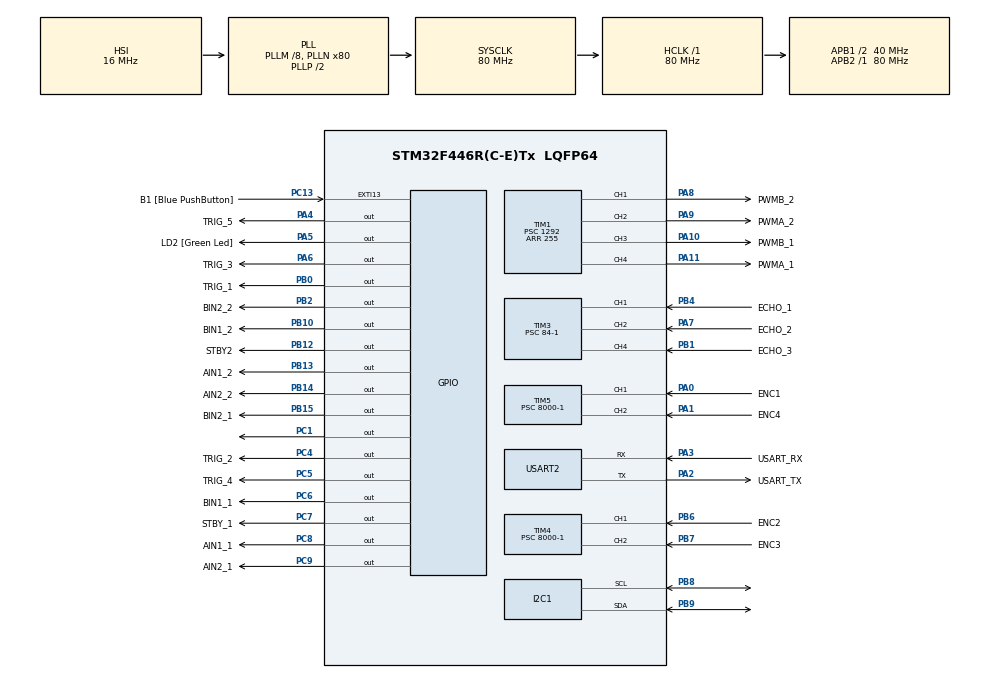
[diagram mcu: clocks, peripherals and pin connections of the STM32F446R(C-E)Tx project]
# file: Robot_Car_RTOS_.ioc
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Dma.Request0=TIM4_CH1
Dma.Request1=TIM4_CH2
Dma.TIM4_CH1.0.Direction=DMA_PERIPH_TO_MEMORY
Dma.TIM4_CH1.0.FIFOMode=DMA_FIFOMODE_DISABLE
Dma.TIM4_CH1.0.Instance=DMA1_Stream0
Dma.TIM4_CH1.0.MemDataAlignment=DMA_MDATAALIGN_HALFWORD
Dma.TIM4_CH1.0.MemInc=DMA_MINC_ENABLE
Dma.TIM4_CH1.0.Mode=DMA_NORMAL
Dma.TIM4_CH1.0.PeriphDataAlignment=DMA_PDATAALIGN_HALFWORD
Dma.TIM4_CH1.0.PeriphInc=DMA_PINC_DISABLE
Dma.TIM4_CH1.0.Priority=DMA_PRIORITY_LOW
Dma.TIM4_CH2.1.Direction=DMA_PERIPH_TO_MEMORY
Dma.TIM4_CH2.1.FIFOMode=DMA_FIFOMODE_DISABLE
Dma.TIM4_CH2.1.Instance=DMA1_Stream3
Dma.TIM4_CH2.1.MemDataAlignment=DMA_MDATAALIGN_HALFWORD
Dma.TIM4_CH2.1.MemInc=DMA_MINC_ENABLE
Dma.TIM4_CH2.1.Mode=DMA_NORMAL
Dma.TIM4_CH2.1.PeriphDataAlignment=DMA_PDATAALIGN_HALFWORD
Dma.TIM4_CH2.1.PeriphInc=DMA_PINC_DISABLE
Dma.TIM4_CH2.1.Priority=DMA_PRIORITY_HIGH
FREERTOS.Tasks01=defaultTask,0,128,StartDefaultTask,Default,NULL,Dynamic,NULL,NULL;ENC1Task,0,128,StartENC1Task,Default,NULL,Dynamic,NULL,NULL;ENC2Task,0,128,StartENC2Task,Default,NULL,Dynamic,NULL,NULL;ENC3Task,0,128,StartENC3Task,Default,NULL,Dynamic,NULL,NULL;ENC4Task,0,128,StartENC4Task,Default,NULL,Dynamic,NULL,NULL;IMUTask,0,128,StartIMUTask,Default,NULL,Dynamic,NULL,NULL
Mcu.Family=STM32F4
Mcu.Name=STM32F446R(C-E)Tx
Mcu.Package=LQFP64
NVIC.DMA1_Stream0_IRQn=true\:5\:0\:false\:false\:true\:true\:false\:true
NVIC.DMA1_Stream3_IRQn=true\:5\:0\:false\:false\:true\:true\:false\:true
NVIC.EXTI15_10_IRQn=true\:5\:0\:false\:false\:true\:true\:true\:true
NVIC.PriorityGroup=NVIC_PRIORITYGROUP_4
NVIC.TIM2_IRQn=true\:0\:0\:false\:false\:true\:false\:false\:true
NVIC.TIM3_IRQn=true\:5\:0\:false\:false\:true\:true\:true\:true
NVIC.TIM4_IRQn=true\:6\:0\:true\:false\:true\:true\:true\:true
NVIC.TIM5_IRQn=true\:7\:0\:true\:false\:true\:true\:true\:true
NVIC.TimeBase=TIM2_IRQn
NVIC.TimeBaseIP=TIM2
PA0-WKUP.GPIO_Label=ENC1
PA0-WKUP.Signal=S_TIM5_CH1
PA1.GPIO_Label=ENC4
PA1.Signal=S_TIM5_CH2
PA10.GPIO_Label=PWMB_1
PA10.GPIO_Speed=GPIO_SPEED_FREQ_HIGH
PA10.Signal=S_TIM1_CH3
PA11.GPIO_Label=PWMA_1
PA11.GPIO_Speed=GPIO_SPEED_FREQ_HIGH
PA11.Signal=S_TIM1_CH4
PA13.GPIO_Label=TMS
PA13.Mode=Serial_Wire
PA13.Signal=SYS_JTMS-SWDIO
PA14.GPIO_Label=TCK
PA14.Mode=Serial_Wire
PA14.Signal=SYS_JTCK-SWCLK
PA2.GPIO_Label=USART_TX
PA2.Mode=Asynchronous
PA2.Signal=USART2_TX
PA3.GPIO_Label=USART_RX
PA3.Mode=Asynchronous
PA3.Signal=USART2_RX
PA4.GPIO_Label=TRIG_5
PA4.Signal=GPIO_Output
PA5.GPIO_Label=LD2 [Green Led]
PA5.GPIO_PuPd=GPIO_NOPULL
PA5.GPIO_Speed=GPIO_SPEED_FREQ_LOW
PA5.PinState=GPIO_PIN_RESET
PA5.Signal=GPIO_Output
PA6.GPIO_Label=TRIG_3
PA6.Signal=GPIO_Output
PA7.GPIO_Label=ECHO_2
PA7.Signal=S_TIM3_CH2
PA8.GPIO_Label=PWMB_2
PA8.GPIO_Speed=GPIO_SPEED_FREQ_HIGH
PA8.Signal=S_TIM1_CH1
PA9.GPIO_Label=PWMA_2
PA9.GPIO_Speed=GPIO_SPEED_FREQ_HIGH
PA9.Signal=S_TIM1_CH2
PB0.GPIO_Label=TRIG_1
PB0.Signal=GPIO_Output
PB1.GPIO_Label=ECHO_3
PB1.Signal=S_TIM3_CH4
PB10.GPIO_Label=BIN1_2
PB10.Signal=GPIO_Output
PB12.GPIO_Label=STBY2
PB12.Signal=GPIO_Output
PB13.GPIO_Label=AIN1_2
PB13.Signal=GPIO_Output
PB14.GPIO_Label=AIN2_2
PB14.Signal=GPIO_Output
PB15.GPIO_Label=BIN2_1
PB15.Signal=GPIO_Output
PB2.GPIO_Label=BIN2_2
PB2.Signal=GPIO_Output
PB3.GPIO_Label=SWO
PB3.Signal=SYS_JTDO-SWO
PB4.GPIO_Label=ECHO_1
PB4.Signal=S_TIM3_CH1
PB6.GPIO_Label=ENC2
PB6.Signal=S_TIM4_CH1
PB7.GPIO_Label=ENC3
PB7.Signal=S_TIM4_CH2
PB8.Mode=I2C
PB8.Signal=I2C1_SCL
PB9.Mode=I2C
PB9.Signal=I2C1_SDA
PC1.Signal=GPIO_Output
PC13.GPIO_Label=B1 [Blue PushButton]
PC13.GPIO_ModeDefaultEXTI=GPIO_MODE_IT_FALLING
PC13.Signal=GPXTI13
PC14-OSC32_IN.Mode=LSE-External-Oscillator
PC14-OSC32_IN.Signal=RCC_OSC32_IN
PC15-OSC32_OUT.Mode=LSE-External-Oscillator
PC15-OSC32_OUT.Signal=RCC_OSC32_OUT
PC4.GPIO_Label=TRIG_2
PC4.Signal=GPIO_Output
PC5.GPIO_Label=TRIG_4
PC5.Signal=GPIO_Output
PC6.GPIO_Label=BIN1_1
PC6.Signal=GPIO_Output
PC7.GPIO_Label=STBY_1
PC7.Signal=GPIO_Output
PC8.GPIO_Label=AIN1_1
PC8.Signal=GPIO_Output
PC9.GPIO_Label=AIN2_1
PC9.Signal=GPIO_Output
PH0-OSC_IN.Mode=HSE-External-Oscillator
PH0-OSC_IN.Signal=RCC_OSC_IN
PH1-OSC_OUT.Mode=HSE-External-Oscillator
PH1-OSC_OUT.Signal=RCC_OSC_OUT
ProjectManager.HeapSize=0x200
ProjectManager.StackSize=0x400
ProjectManager.TargetToolchain=STM32CubeIDE
RCC.48MHZClocksFreq_Value=84000000
RCC.AHBFreq_Value=80000000
RCC.APB1CLKDivider=RCC_HCLK_DIV2
RCC.APB1Freq_Value=40000000
RCC.APB1TimFreq_Value=80000000
RCC.APB2Freq_Value=80000000
RCC.APB2TimFreq_Value=80000000
RCC.CortexFreq_Value=80000000
RCC.FLatency-AdvancedSettings=FLASH_LATENCY_2
RCC.HCLKFreq_Value=80000000
RCC.HSE_VALUE=8000000
RCC.HSI_VALUE=16000000
RCC.PLLM=8
RCC.PLLN=80
RCC.SYSCLKFreq_VALUE=80000000
RCC.SYSCLKSource=RCC_SYSCLKSOURCE_PLLCLK
RCC.USBFreq_Value=80000000
RCC.VCOOutputFreq_Value=160000000
SH.S_TIM1_CH1.0=TIM1_CH1,PWM Generation1 CH1
SH.S_TIM1_CH2.0=TIM1_CH2,PWM Generation2 CH2
SH.S_TIM1_CH3.0=TIM1_CH3,PWM Generation3 CH3
SH.S_TIM1_CH4.0=TIM1_CH4,PWM Generation4 CH4
SH.S_TIM3_CH1.0=TIM3_CH1,Input_Capture1_from_TI1
SH.S_TIM3_CH2.0=TIM3_CH2,Input_Capture2_from_TI2
SH.S_TIM3_CH4.0=TIM3_CH4,Input_Capture4_from_TI4
SH.S_TIM4_CH1.0=TIM4_CH1,Input_Capture1_from_TI1
SH.S_TIM4_CH2.0=TIM4_CH2,Input_Capture2_from_TI2
SH.S_TIM5_CH1.0=TIM5_CH1,Input_Capture1_from_TI1
SH.S_TIM5_CH2.0=TIM5_CH2,Input_Capture2_from_TI2
TIM1.Channel-PWM\ Generation1\ CH1=TIM_CHANNEL_1
TIM1.Channel-PWM\ Generation2\ CH2=TIM_CHANNEL_2
TIM1.Channel-PWM\ Generation3\ CH3=TIM_CHANNEL_3
TIM1.Channel-PWM\ Generation4\ CH4=TIM_CHANNEL_4
TIM1.Period=255
TIM1.Prescaler=1292
TIM1.Pulse-PWM\ Generation1\ CH1=2000
TIM1.Pulse-PWM\ Generation2\ CH2=2000
TIM1.Pulse-PWM\ Generation3\ CH3=2000
TIM1.Pulse-PWM\ Generation4\ CH4=2000
TIM3.Channel-Input_Capture1_from_TI1=TIM_CHANNEL_1
TIM3.Channel-Input_Capture2_from_TI2=TIM_CHANNEL_2
TIM3.Channel-Input_Capture4_from_TI4=TIM_CHANNEL_4
TIM3.ICFilter_CH1=4
TIM3.ICFilter_CH2=4
TIM3.ICFilter_CH4=4
TIM3.ICPolarity_CH1=TIM_INPUTCHANNELPOLARITY_BOTHEDGE
TIM3.ICPolarity_CH2=TIM_INPUTCHANNELPOLARITY_BOTHEDGE
TIM3.ICPolarity_CH4=TIM_INPUTCHANNELPOLARITY_BOTHEDGE
TIM3.Prescaler=84-1
TIM4.Channel-Input_Capture1_from_TI1=TIM_CHANNEL_1
TIM4.Channel-Input_Capture2_from_TI2=TIM_CHANNEL_2
TIM4.ICFilter_CH1=15
TIM4.ICFilter_CH2=15
TIM4.Period=65536 - 1
TIM4.Prescaler=8000-1
TIM5.Channel-Input_Capture1_from_TI1=TIM_CHANNEL_1
TIM5.Channel-Input_Capture2_from_TI2=TIM_CHANNEL_2
TIM5.ICFilter_CH1=15
TIM5.ICFilter_CH2=15
TIM5.Period=65536 - 1
TIM5.Prescaler=8000-1
USART2.VirtualMode=VM_ASYNC
VP_FREERTOS_VS_CMSIS_V1.Mode=CMSIS_V1
VP_SYS_VS_tim2.Mode=TIM2
VP_TIM3_VS_ClockSourceINT.Mode=Internal
VP_TIM4_VS_ClockSourceINT.Mode=Internal
board=NUCLEO-F446RE

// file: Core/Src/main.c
/* USER CODE BEGIN Header */
/**
  ******************************************************************************
  * @file           : main.c
  * @brief          : Main program body
  ******************************************************************************
  * @attention
  *
  * <h2><center>&copy; Copyright (c) 2021 STMicroelectronics.
  * All rights reserved.</center></h2>
  *
  * This software component is licensed by ST under BSD 3-Clause license,
  * the "License"; You may not use this file except in compliance with the
  * License. You may obtain a copy of the License at:
  *                        opensource.org/licenses/BSD-3-Clause
  *
  ******************************************************************************
  */
/* USER CODE END Header */
#include "main.h"
#include "cmsis_os.h"

/* USER CODE BEGIN Includes */
#include <stdbool.h>
#include "stdio.h"
#include "math.h"
#include "IMU.h"

/* USER CODE END Includes */

I2C_HandleTypeDef hi2c1;

TIM_HandleTypeDef htim1;
TIM_HandleTypeDef htim3;
TIM_HandleTypeDef htim4;
TIM_HandleTypeDef htim5;
DMA_HandleTypeDef hdma_tim4_ch1;
DMA_HandleTypeDef hdma_tim4_ch2;

UART_HandleTypeDef huart2;

osThreadId defaultTaskHandle;
osThreadId ENC1TaskHandle;
osThreadId ENC2TaskHandle;
osThreadId ENC3TaskHandle;
osThreadId ENC4TaskHandle;
osThreadId IMUTaskHandle;
/* USER CODE BEGIN PV */
osThreadId motorTaskHandle;
/* USER CODE END PV */

void SystemClock_Config(void);
static void MX_GPIO_Init(void);
static void MX_DMA_Init(void);
static void MX_TIM1_Init(void);
static void MX_USART2_UART_Init(void);
static void MX_TIM4_Init(void);
static void MX_I2C1_Init(void);
static void MX_TIM3_Init(void);
static void MX_TIM5_Init(void);
void StartDefaultTask(void const * argument);
void StartENC1Task(void const * argument);
void StartENC2Task(void const * argument);
void StartENC3Task(void const * argument);
void StartENC4Task(void const * argument);
void StartIMUTask(void const * argument);

/* USER CODE BEGIN PFP */
void HAL_GPIO_EXTI_Callback ( uint16_t GPIO_Pin );
void StartMotorTask(void const * argument);
void ComputeMotorPID(float *motor_1_ang_vel, float *motor_2_ang_vel, float *motor_3_ang_vel, float *motor_4_ang_vel);
void MPU6050Setup(void);

//Callback declarations
void HAL_TIM_IC_CaptureCallback(TIM_HandleTypeDef *htim);
/* USER CODE END PFP */

/* USER CODE BEGIN 0 */
bool enable_motors = false;

//Encoder 1 variables
uint8_t icflag1_1 = 0;
uint8_t icflag2_1 = 0;
uint32_t tick1_1;
uint32_t tick2_1;
uint32_t period1;
float frequency1 = 0.0;
float motor1_ang_vel = 0.0;
uint32_t start_tick1;

//Encoder 2 variables
uint8_t icflag1_2 = 0;
uint8_t icflag2_2 = 0;
uint32_t tick1_2;
uint32_t tick2_2;
uint32_t period2;
float frequency2 = 0.0;
float motor2_ang_vel = 0.0;
uint32_t start_tick2;

//Encoder 3 variables
uint8_t icflag1_3 = 0;
uint8_t icflag2_3 = 0;
uint32_t tick1_3;
uint32_t tick2_3;
uint32_t period3;
float frequency3 = 0.0;
float motor3_ang_vel = 0.0;
uint32_t start_tick3;

//Encoder 4 variables
uint8_t icflag1_4 = 0;
uint8_t icflag2_4 = 0;
uint32_t tick1_4;
uint32_t tick2_4;
uint32_t period4;
float frequency4 = 0.0;
float motor4_ang_vel = 0.0;
uint32_t start_tick4;

//Wheel ang vel PID variables
uint32_t motor_current_time = 0;
uint32_t motor_previous_time = 0;
float motor_elapsed_time;

float motor1_error;
float motor1_cum_error = 0;
float motor1_cum_error_previous = 0;
float motor1_rate_error = 0;
float motor1_last_error = 0;
float motor1_setpoint = 20.0;
float motor1_output_voltage;
float motor1_max_voltage = 4.5;
float motor1_max_rps = 27.0;
uint32_t motor1_PWM;

float motor2_error;
float motor2_cum_error = 0;
float motor2_cum_error_previous = 0;
float motor2_rate_error = 0;
float motor2_last_error = 0;
float motor2_setpoint = 20.0;
float motor2_output_voltage;
float motor2_max_voltage = 4.5;
float motor2_max_rps = 27.0;
uint32_t motor2_PWM;

float motor3_error;
float motor3_cum_error = 0;
float motor3_cum_error_previous = 0;
float motor3_rate_error = 0;
float motor3_last_error = 0;
float motor3_setpoint = 20.0;
float motor3_output_voltage;
float motor3_max_voltage = 4.5;
float motor3_max_rps = 27.0;
uint32_t motor3_PWM;

float motor4_error;
float motor4_cum_error = 0;
float motor4_cum_error_previous = 0;
float motor4_rate_error = 0;
float motor4_last_error = 0;
float motor4_setpoint = 20.0;
float motor4_output_voltage;
float motor4_max_voltage = 4.5;
float motor4_max_rps = 27.0;
uint32_t motor4_PWM;

float Kp = 0.02;
float Ki = 0.00015;
float Kd = 0;

//IMU variables
ScaledData_Def AccelScaled, GyroScaled;

//printf function
int _write(int file, char *ptr, int len)
{
	int i=0;
	for(i=0; i<len; i++) {
		ITM_SendChar((*ptr++));
	}
	return len;
}

/* USER CODE END 0 */

int main(void)
{

  /* MCU Configuration--------------------------------------------------------*/

  /* Reset of all peripherals, Initializes the Flash interface and the Systick. */
  HAL_Init();

  /* Configure the system clock */
  SystemClock_Config();

  /* Initialize all configured peripherals */
  MX_GPIO_Init();
  MX_DMA_Init();
  MX_TIM1_Init();
  MX_USART2_UART_Init();
  MX_TIM4_Init();
  MX_I2C1_Init();
  MX_TIM3_Init();
  MX_TIM5_Init();
  /* USER CODE BEGIN 2 */
  // Start PWM for motor drivers
  HAL_TIM_PWM_Start(&htim1, TIM_CHANNEL_1);
  HAL_TIM_PWM_Start(&htim1, TIM_CHANNEL_2);
  HAL_TIM_PWM_Start(&htim1, TIM_CHANNEL_3);
  HAL_TIM_PWM_Start(&htim1, TIM_CHANNEL_4);

  //Setup IMU
  //MPU6050Setup();
  /* USER CODE END 2 */

  /* Create the thread(s) */
  /* definition and creation of defaultTask */
  osThreadDef(defaultTask, StartDefaultTask, osPriorityNormal, 0, 128);
  defaultTaskHandle = osThreadCreate(osThread(defaultTask), NULL);

  /* definition and creation of ENC1Task */
  osThreadDef(ENC1Task, StartENC1Task, osPriorityNormal, 0, 128);
  ENC1TaskHandle = osThreadCreate(osThread(ENC1Task), NULL);

  /* definition and creation of ENC2Task */
  osThreadDef(ENC2Task, StartENC2Task, osPriorityNormal, 0, 128);
  ENC2TaskHandle = osThreadCreate(osThread(ENC2Task), NULL);

  /* definition and creation of ENC3Task */
  osThreadDef(ENC3Task, StartENC3Task, osPriorityNormal, 0, 128);
  ENC3TaskHandle = osThreadCreate(osThread(ENC3Task), NULL);

  /* definition and creation of ENC4Task */
  osThreadDef(ENC4Task, StartENC4Task, osPriorityNormal, 0, 128);
  ENC4TaskHandle = osThreadCreate(osThread(ENC4Task), NULL);

  /* definition and creation of IMUTask */
  osThreadDef(IMUTask, StartIMUTask, osPriorityNormal, 0, 128);
  IMUTaskHandle = osThreadCreate(osThread(IMUTask), NULL);

  /* USER CODE BEGIN RTOS_THREADS */
  /* add threads, ... */
  osThreadDef(motorTask, StartMotorTask, osPriorityNormal, 0, 128);
  motorTaskHandle = osThreadCreate(osThread(motorTask), NULL);

  /* USER CODE END RTOS_THREADS */

  /* Start scheduler */
  osKernelStart();

  /* We should never get here as control is now taken by the scheduler */
  /* Infinite loop */
  while (1)
  {

  }
}

void SystemClock_Config(void)
{
  RCC_OscInitTypeDef RCC_OscInitStruct = {0};
  RCC_ClkInitTypeDef RCC_ClkInitStruct = {0};

  /** Configure the main internal regulator output voltage
  */
  __HAL_RCC_PWR_CLK_ENABLE();
  __HAL_PWR_VOLTAGESCALING_CONFIG(PWR_REGULATOR_VOLTAGE_SCALE3);
  /** Initializes the RCC Oscillators according to the specified parameters
  * in the RCC_OscInitTypeDef structure.
  */
  RCC_OscInitStruct.OscillatorType = RCC_OSCILLATORTYPE_HSI;
  RCC_OscInitStruct.HSIState = RCC_HSI_ON;
  RCC_OscInitStruct.HSICalibrationValue = RCC_HSICALIBRATION_DEFAULT;
  RCC_OscInitStruct.PLL.PLLState = RCC_PLL_ON;
  RCC_OscInitStruct.PLL.PLLSource = RCC_PLLSOURCE_HSI;
  RCC_OscInitStruct.PLL.PLLM = 8;
  RCC_OscInitStruct.PLL.PLLN = 80;
  RCC_OscInitStruct.PLL.PLLP = RCC_PLLP_DIV2;
  RCC_OscInitStruct.PLL.PLLQ = 2;
  RCC_OscInitStruct.PLL.PLLR = 2;
  if (HAL_RCC_OscConfig(&RCC_OscInitStruct) != HAL_OK)
  {
    Error_Handler();
  }
  /** Initializes the CPU, AHB and APB buses clocks
  */
  RCC_ClkInitStruct.ClockType = RCC_CLOCKTYPE_HCLK|RCC_CLOCKTYPE_SYSCLK
                              |RCC_CLOCKTYPE_PCLK1|RCC_CLOCKTYPE_PCLK2;
  RCC_ClkInitStruct.SYSCLKSource = RCC_SYSCLKSOURCE_PLLCLK;
  RCC_ClkInitStruct.AHBCLKDivider = RCC_SYSCLK_DIV1;
  RCC_ClkInitStruct.APB1CLKDivider = RCC_HCLK_DIV2;
  RCC_ClkInitStruct.APB2CLKDivider = RCC_HCLK_DIV1;

  if (HAL_RCC_ClockConfig(&RCC_ClkInitStruct, FLASH_LATENCY_2) != HAL_OK)
  {
    Error_Handler();
  }
}

static void MX_I2C1_Init(void)
{

  hi2c1.Instance = I2C1;
  hi2c1.Init.ClockSpeed = 100000;
  hi2c1.Init.DutyCycle = I2C_DUTYCYCLE_2;
  hi2c1.Init.OwnAddress1 = 0;
  hi2c1.Init.AddressingMode = I2C_ADDRESSINGMODE_7BIT;
  hi2c1.Init.DualAddressMode = I2C_DUALADDRESS_DISABLE;
  hi2c1.Init.OwnAddress2 = 0;
  hi2c1.Init.GeneralCallMode = I2C_GENERALCALL_DISABLE;
  hi2c1.Init.NoStretchMode = I2C_NOSTRETCH_DISABLE;
  if (HAL_I2C_Init(&hi2c1) != HAL_OK)
  {
    Error_Handler();
  }

}

static void MX_TIM1_Init(void)
{

  TIM_MasterConfigTypeDef sMasterConfig = {0};
  TIM_OC_InitTypeDef sConfigOC = {0};
  TIM_BreakDeadTimeConfigTypeDef sBreakDeadTimeConfig = {0};

  htim1.Instance = TIM1;
  htim1.Init.Prescaler = 1292;
  htim1.Init.CounterMode = TIM_COUNTERMODE_UP;
  htim1.Init.Period = 255;
  htim1.Init.ClockDivision = TIM_CLOCKDIVISION_DIV1;
  htim1.Init.RepetitionCounter = 0;
  htim1.Init.AutoReloadPreload = TIM_AUTORELOAD_PRELOAD_DISABLE;
  if (HAL_TIM_PWM_Init(&htim1) != HAL_OK)
  {
    Error_Handler();
  }
  sMasterConfig.MasterOutputTrigger = TIM_TRGO_RESET;
  sMasterConfig.MasterSlaveMode = TIM_MASTERSLAVEMODE_DISABLE;
  if (HAL_TIMEx_MasterConfigSynchronization(&htim1, &sMasterConfig) != HAL_OK)
  {
    Error_Handler();
  }
  sConfigOC.OCMode = TIM_OCMODE_PWM1;
  sConfigOC.Pulse = 2000;
  sConfigOC.OCPolarity = TIM_OCPOLARITY_HIGH;
  sConfigOC.OCNPolarity = TIM_OCNPOLARITY_HIGH;
  sConfigOC.OCFastMode = TIM_OCFAST_DISABLE;
  sConfigOC.OCIdleState = TIM_OCIDLESTATE_RESET;
  sConfigOC.OCNIdleState = TIM_OCNIDLESTATE_RESET;
  if (HAL_TIM_PWM_ConfigChannel(&htim1, &sConfigOC, TIM_CHANNEL_1) != HAL_OK)
  {
    Error_Handler();
  }
  if (HAL_TIM_PWM_ConfigChannel(&htim1, &sConfigOC, TIM_CHANNEL_2) != HAL_OK)
  {
    Error_Handler();
  }
  if (HAL_TIM_PWM_ConfigChannel(&htim1, &sConfigOC, TIM_CHANNEL_3) != HAL_OK)
  {
    Error_Handler();
  }
  if (HAL_TIM_PWM_ConfigChannel(&htim1, &sConfigOC, TIM_CHANNEL_4) != HAL_OK)
  {
    Error_Handler();
  }
  sBreakDeadTimeConfig.OffStateRunMode = TIM_OSSR_DISABLE;
  sBreakDeadTimeConfig.OffStateIDLEMode = TIM_OSSI_DISABLE;
  sBreakDeadTimeConfig.LockLevel = TIM_LOCKLEVEL_OFF;
  sBreakDeadTimeConfig.DeadTime = 0;
  sBreakDeadTimeConfig.BreakState = TIM_BREAK_DISABLE;
  sBreakDeadTimeConfig.BreakPolarity = TIM_BREAKPOLARITY_HIGH;
  sBreakDeadTimeConfig.AutomaticOutput = TIM_AUTOMATICOUTPUT_DISABLE;
  if (HAL_TIMEx_ConfigBreakDeadTime(&htim1, &sBreakDeadTimeConfig) != HAL_OK)
  {
    Error_Handler();
  }
  HAL_TIM_MspPostInit(&htim1);

}

static void MX_TIM3_Init(void)
{

  TIM_ClockConfigTypeDef sClockSourceConfig = {0};
  TIM_MasterConfigTypeDef sMasterConfig = {0};
  TIM_IC_InitTypeDef sConfigIC = {0};

  htim3.Instance = TIM3;
  htim3.Init.Prescaler = 84-1;
  htim3.Init.CounterMode = TIM_COUNTERMODE_UP;
  htim3.Init.Period = 65535;
  htim3.Init.ClockDivision = TIM_CLOCKDIVISION_DIV1;
  htim3.Init.AutoReloadPreload = TIM_AUTORELOAD_PRELOAD_DISABLE;
  if (HAL_TIM_Base_Init(&htim3) != HAL_OK)
  {
    Error_Handler();
  }
  sClockSourceConfig.ClockSource = TIM_CLOCKSOURCE_INTERNAL;
  if (HAL_TIM_ConfigClockSource(&htim3, &sClockSourceConfig) != HAL_OK)
  {
    Error_Handler();
  }
  if (HAL_TIM_IC_Init(&htim3) != HAL_OK)
  {
    Error_Handler();
  }
  sMasterConfig.MasterOutputTrigger = TIM_TRGO_RESET;
  sMasterConfig.MasterSlaveMode = TIM_MASTERSLAVEMODE_DISABLE;
  if (HAL_TIMEx_MasterConfigSynchronization(&htim3, &sMasterConfig) != HAL_OK)
  {
    Error_Handler();
  }
  sConfigIC.ICPolarity = TIM_INPUTCHANNELPOLARITY_BOTHEDGE;
  sConfigIC.ICSelection = TIM_ICSELECTION_DIRECTTI;
  sConfigIC.ICPrescaler = TIM_ICPSC_DIV1;
  sConfigIC.ICFilter = 4;
  if (HAL_TIM_IC_ConfigChannel(&htim3, &sConfigIC, TIM_CHANNEL_1) != HAL_OK)
  {
    Error_Handler();
  }
  if (HAL_TIM_IC_ConfigChannel(&htim3, &sConfigIC, TIM_CHANNEL_2) != HAL_OK)
  {
    Error_Handler();
  }
  if (HAL_TIM_IC_ConfigChannel(&htim3, &sConfigIC, TIM_CHANNEL_4) != HAL_OK)
  {
    Error_Handler();
  }

}

static void MX_TIM4_Init(void)
{

  TIM_ClockConfigTypeDef sClockSourceConfig = {0};
  TIM_MasterConfigTypeDef sMasterConfig = {0};
  TIM_IC_InitTypeDef sConfigIC = {0};

  htim4.Instance = TIM4;
  htim4.Init.Prescaler = 8000-1;
  htim4.Init.CounterMode = TIM_COUNTERMODE_UP;
  htim4.Init.Period = 65536 - 1;
  htim4.Init.ClockDivision = TIM_CLOCKDIVISION_DIV1;
  htim4.Init.AutoReloadPreload = TIM_AUTORELOAD_PRELOAD_DISABLE;
  if (HAL_TIM_Base_Init(&htim4) != HAL_OK)
  {
    Error_Handler();
  }
  sClockSourceConfig.ClockSource = TIM_CLOCKSOURCE_INTERNAL;
  if (HAL_TIM_ConfigClockSource(&htim4, &sClockSourceConfig) != HAL_OK)
  {
    Error_Handler();
  }
  if (HAL_TIM_IC_Init(&htim4) != HAL_OK)
  {
    Error_Handler();
  }
  sMasterConfig.MasterOutputTrigger = TIM_TRGO_RESET;
  sMasterConfig.MasterSlaveMode = TIM_MASTERSLAVEMODE_DISABLE;
  if (HAL_TIMEx_MasterConfigSynchronization(&htim4, &sMasterConfig) != HAL_OK)
  {
    Error_Handler();
  }
  sConfigIC.ICPolarity = TIM_INPUTCHANNELPOLARITY_RISING;
  sConfigIC.ICSelection = TIM_ICSELECTION_DIRECTTI;
  sConfigIC.ICPrescaler = TIM_ICPSC_DIV1;
  sConfigIC.ICFilter = 15;
  if (HAL_TIM_IC_ConfigChannel(&htim4, &sConfigIC, TIM_CHANNEL_1) != HAL_OK)
  {
    Error_Handler();
  }
  if (HAL_TIM_IC_ConfigChannel(&htim4, &sConfigIC, TIM_CHANNEL_2) != HAL_OK)
  {
    Error_Handler();
  }

}

static void MX_TIM5_Init(void)
{

  TIM_MasterConfigTypeDef sMasterConfig = {0};
  TIM_IC_InitTypeDef sConfigIC = {0};

  htim5.Instance = TIM5;
  htim5.Init.Prescaler = 8000-1;
  htim5.Init.CounterMode = TIM_COUNTERMODE_UP;
  htim5.Init.Period = 65536 - 1;
  htim5.Init.ClockDivision = TIM_CLOCKDIVISION_DIV1;
  htim5.Init.AutoReloadPreload = TIM_AUTORELOAD_PRELOAD_DISABLE;
  if (HAL_TIM_IC_Init(&htim5) != HAL_OK)
  {
    Error_Handler();
  }
  sMasterConfig.MasterOutputTrigger = TIM_TRGO_RESET;
  sMasterConfig.MasterSlaveMode = TIM_MASTERSLAVEMODE_DISABLE;
  if (HAL_TIMEx_MasterConfigSynchronization(&htim5, &sMasterConfig) != HAL_OK)
  {
    Error_Handler();
  }
  sConfigIC.ICPolarity = TIM_INPUTCHANNELPOLARITY_RISING;
  sConfigIC.ICSelection = TIM_ICSELECTION_DIRECTTI;
  sConfigIC.ICPrescaler = TIM_ICPSC_DIV1;
  sConfigIC.ICFilter = 15;
  if (HAL_TIM_IC_ConfigChannel(&htim5, &sConfigIC, TIM_CHANNEL_1) != HAL_OK)
  {
    Error_Handler();
  }
  if (HAL_TIM_IC_ConfigChannel(&htim5, &sConfigIC, TIM_CHANNEL_2) != HAL_OK)
  {
    Error_Handler();
  }

}

static void MX_USART2_UART_Init(void)
{

  huart2.Instance = USART2;
  huart2.Init.BaudRate = 115200;
  huart2.Init.WordLength = UART_WORDLENGTH_8B;
  huart2.Init.StopBits = UART_STOPBITS_1;
  huart2.Init.Parity = UART_PARITY_NONE;
  huart2.Init.Mode = UART_MODE_TX_RX;
  huart2.Init.HwFlowCtl = UART_HWCONTROL_NONE;
  huart2.Init.OverSampling = UART_OVERSAMPLING_16;
  if (HAL_UART_Init(&huart2) != HAL_OK)
  {
    Error_Handler();
  }

}

static void MX_DMA_Init(void)
{

  /* DMA controller clock enable */
  __HAL_RCC_DMA1_CLK_ENABLE();

  /* DMA interrupt init */
  /* DMA1_Stream0_IRQn interrupt configuration */
  HAL_NVIC_SetPriority(DMA1_Stream0_IRQn, 5, 0);
  HAL_NVIC_EnableIRQ(DMA1_Stream0_IRQn);
  /* DMA1_Stream3_IRQn interrupt configuration */
  HAL_NVIC_SetPriority(DMA1_Stream3_IRQn, 5, 0);
  HAL_NVIC_EnableIRQ(DMA1_Stream3_IRQn);

}

static void MX_GPIO_Init(void)
{
  GPIO_InitTypeDef GPIO_InitStruct = {0};

  /* GPIO Ports Clock Enable */
  __HAL_RCC_GPIOC_CLK_ENABLE();
  __HAL_RCC_GPIOH_CLK_ENABLE();
  __HAL_RCC_GPIOA_CLK_ENABLE();
  __HAL_RCC_GPIOB_CLK_ENABLE();

  /*Configure GPIO pin Output Level */
  HAL_GPIO_WritePin(GPIOC, GPIO_PIN_1|TRIG_2_Pin|TRIG_4_Pin|BIN1_1_Pin
                          |STBY_1_Pin|AIN1_1_Pin|AIN2_1_Pin, GPIO_PIN_RESET);

  /*Configure GPIO pin Output Level */
  HAL_GPIO_WritePin(GPIOA, TRIG_5_Pin|LD2_Pin|TRIG_3_Pin, GPIO_PIN_RESET);

  /*Configure GPIO pin Output Level */
  HAL_GPIO_WritePin(GPIOB, TRIG_1_Pin|BIN2_2_Pin|BIN1_2_Pin|STBY2_Pin
                          |AIN1_2_Pin|AIN2_2_Pin|BIN2_1_Pin, GPIO_PIN_RESET);

  /*Configure GPIO pin : B1_Pin */
  GPIO_InitStruct.Pin = B1_Pin;
  GPIO_InitStruct.Mode = GPIO_MODE_IT_FALLING;
  GPIO_InitStruct.Pull = GPIO_NOPULL;
  HAL_GPIO_Init(B1_GPIO_Port, &GPIO_InitStruct);

  /*Configure GPIO pins : PC1 TRIG_2_Pin TRIG_4_Pin BIN1_1_Pin
                           STBY_1_Pin AIN1_1_Pin AIN2_1_Pin */
  GPIO_InitStruct.Pin = GPIO_PIN_1|TRIG_2_Pin|TRIG_4_Pin|BIN1_1_Pin
                          |STBY_1_Pin|AIN1_1_Pin|AIN2_1_Pin;
  GPIO_InitStruct.Mode = GPIO_MODE_OUTPUT_PP;
  GPIO_InitStruct.Pull = GPIO_NOPULL;
  GPIO_InitStruct.Speed = GPIO_SPEED_FREQ_LOW;
  HAL_GPIO_Init(GPIOC, &GPIO_InitStruct);

  /*Configure GPIO pins : TRIG_5_Pin LD2_Pin TRIG_3_Pin */
  GPIO_InitStruct.Pin = TRIG_5_Pin|LD2_Pin|TRIG_3_Pin;
  GPIO_InitStruct.Mode = GPIO_MODE_OUTPUT_PP;
  GPIO_InitStruct.Pull = GPIO_NOPULL;
  GPIO_InitStruct.Speed = GPIO_SPEED_FREQ_LOW;
  HAL_GPIO_Init(GPIOA, &GPIO_InitStruct);

  /*Configure GPIO pins : TRIG_1_Pin BIN2_2_Pin BIN1_2_Pin STBY2_Pin
                           AIN1_2_Pin AIN2_2_Pin BIN2_1_Pin */
  GPIO_InitStruct.Pin = TRIG_1_Pin|BIN2_2_Pin|BIN1_2_Pin|STBY2_Pin
                          |AIN1_2_Pin|AIN2_2_Pin|BIN2_1_Pin;
  GPIO_InitStruct.Mode = GPIO_MODE_OUTPUT_PP;
  GPIO_InitStruct.Pull = GPIO_NOPULL;
  GPIO_InitStruct.Speed = GPIO_SPEED_FREQ_LOW;
  HAL_GPIO_Init(GPIOB, &GPIO_InitStruct);

  /* EXTI interrupt init*/
  HAL_NVIC_SetPriority(EXTI15_10_IRQn, 5, 0);
  HAL_NVIC_EnableIRQ(EXTI15_10_IRQn);

}

/* USER CODE BEGIN 4 */
void StartMotorTask(void const * argument)
{
  for(;;)
  {
		//Start motors drivers for 1 and 2
		HAL_GPIO_WritePin(AIN2_1_GPIO_Port, AIN2_1_Pin, GPIO_PIN_SET);
		HAL_GPIO_WritePin(AIN1_1_GPIO_Port, AIN1_1_Pin, GPIO_PIN_RESET);

		HAL_GPIO_WritePin(STBY_1_GPIO_Port, STBY_1_Pin, GPIO_PIN_SET);

		HAL_GPIO_WritePin(BIN2_1_GPIO_Port, BIN2_1_Pin, GPIO_PIN_SET);
		HAL_GPIO_WritePin(BIN1_1_GPIO_Port, BIN1_1_Pin, GPIO_PIN_RESET);

		//Start motors drivers for 3 and 4
		HAL_GPIO_WritePin(AIN2_2_GPIO_Port, AIN2_2_Pin, GPIO_PIN_RESET);
		HAL_GPIO_WritePin(AIN1_2_GPIO_Port, AIN1_2_Pin, GPIO_PIN_SET);

		HAL_GPIO_WritePin(STBY2_GPIO_Port, STBY2_Pin, GPIO_PIN_SET);

		HAL_GPIO_WritePin(BIN2_2_GPIO_Port, BIN2_2_Pin, GPIO_PIN_RESET);
		HAL_GPIO_WritePin(BIN1_2_GPIO_Port, BIN1_2_Pin, GPIO_PIN_SET);

		//Compute PID values for low lever angular velocity controller
		ComputeMotorPID(&motor1_ang_vel, &motor2_ang_vel, &motor3_ang_vel, &motor4_ang_vel);
		motor1_PWM = (int)(255*fabs(motor1_output_voltage)/motor1_max_voltage);
		motor2_PWM = (int)(255*fabs(motor2_output_voltage)/motor2_max_voltage);
		motor3_PWM = (int)(255*fabs(motor3_output_voltage)/motor3_max_voltage);
		motor4_PWM = (int)(255*fabs(motor4_output_voltage)/motor4_max_voltage);

		if (motor1_PWM > 255) {
			motor1_PWM = 255;
		}
		if (motor2_PWM > 255) {
			motor2_PWM = 255;
		}
		if (motor3_PWM > 255) {
			motor3_PWM = 255;
		}
		if (motor4_PWM > 255) {
			motor4_PWM = 255;
		}

		if(enable_motors){

		  //Set PWM values for 1 and 2
		  htim1.Instance->CCR4 = motor1_PWM;
		  htim1.Instance->CCR3 = motor2_PWM;

		  //Set PWM values for 3 and 4
		  htim1.Instance->CCR2 = motor3_PWM;
		  htim1.Instance->CCR1 = motor4_PWM;

		}
		else{

		  //Set PWM values for 1 and 2
		  htim1.Instance->CCR4 = 0;
		  htim1.Instance->CCR3 = 0;

		  //Set PWM values for 3 and 4
		  htim1.Instance->CCR2 = 0;
		  htim1.Instance->CCR1 = 0;

		}

	  osDelay(100);
  }
}

void HAL_GPIO_EXTI_Callback ( uint16_t GPIO_Pin )
{
  if (GPIO_Pin == B1_Pin) {
	  enable_motors = !enable_motors;
	  HAL_GPIO_TogglePin (LD2_GPIO_Port, LD2_Pin);
  }
  else {
	  __NOP ();
  }
}

void HAL_TIM_IC_CaptureCallback(TIM_HandleTypeDef *htim) {
	if (htim->Instance == TIM5 && htim->Channel == HAL_TIM_ACTIVE_CHANNEL_1)
	{
		if (icflag1_1 == 0){
			tick1_1 = __HAL_TIM_GetCounter(htim);
			icflag1_1 = 1;
		}
		else if (icflag1_1 == 1){
			tick2_1 = __HAL_TIM_GetCounter(htim);
			icflag2_1 = 1;
		}
	}

	else if (htim->Instance == TIM4 && htim->Channel == HAL_TIM_ACTIVE_CHANNEL_1)
	{
		if (icflag1_2 == 0){
			tick1_2 = __HAL_TIM_GetCounter(htim);
			icflag1_2 = 1;
		}
		else if (icflag1_2 == 1){
			tick2_2 = __HAL_TIM_GetCounter(htim);
			icflag2_2 = 1;
		}
	}
	else if (htim->Instance == TIM4 && htim->Channel == HAL_TIM_ACTIVE_CHANNEL_2)
	{
		if (icflag1_3 == 0){
			tick1_3 = __HAL_TIM_GetCounter(htim);
			icflag1_3 = 1;
		}
		else if (icflag1_3 == 1){
			tick2_3 = __HAL_TIM_GetCounter(htim);
			icflag2_3 = 1;
		}
	}
	else if (htim->Instance == TIM5 && htim->Channel == HAL_TIM_ACTIVE_CHANNEL_2)
	{
		if (icflag1_4 == 0){
			tick1_4 = __HAL_TIM_GetCounter(htim);
			icflag1_4 = 1;
		}
		else if (icflag1_4 == 1){
			tick2_4 = __HAL_TIM_GetCounter(htim);
			icflag2_4 = 1;
		}
	}
}

void ComputeMotorPID(float *motor_1_ang_vel, float *motor_2_ang_vel, float *motor_3_ang_vel, float *motor_4_ang_vel)
{

	motor_current_time = HAL_GetTick();
	motor_elapsed_time = (float)(motor_current_time - motor_previous_time);

	//Calculate the proportional term
	motor1_error = motor1_setpoint - *motor_1_ang_vel;
	motor2_error = motor2_setpoint - *motor_2_ang_vel;
	motor3_error = motor3_setpoint - *motor_3_ang_vel;
	motor4_error = motor4_setpoint - *motor_4_ang_vel;

	//Calculate the integral term
	motor1_cum_error = motor1_cum_error_previous + motor1_error*motor_elapsed_time;
	motor2_cum_error = motor2_cum_error_previous + motor2_error*motor_elapsed_time;
	motor3_cum_error = motor3_cum_error_previous + motor3_error*motor_elapsed_time;
	motor4_cum_error = motor4_cum_error_previous + motor4_error*motor_elapsed_time;

	//Calculate the derivative term
	motor1_rate_error = (motor1_error - motor1_last_error)/motor_elapsed_time;
	motor2_rate_error = (motor2_error - motor2_last_error)/motor_elapsed_time;
	motor3_rate_error = (motor3_error - motor3_last_error)/motor_elapsed_time;
	motor4_rate_error = (motor4_error - motor4_last_error)/motor_elapsed_time;

	//Main voltage input to the motors
	motor1_output_voltage = Kp*motor1_error + Ki*motor1_cum_error + Kd*motor1_rate_error;
	motor2_output_voltage = Kp*motor2_error + Ki*motor2_cum_error + Kd*motor2_rate_error;
	motor3_output_voltage = Kp*motor3_error + Ki*motor3_cum_error + Kd*motor3_rate_error;
	motor4_output_voltage = Kp*motor4_error + Ki*motor4_cum_error + Kd*motor4_rate_error;

	//Make sure the input voltage does not exceed max value
	if (motor1_output_voltage > motor1_max_voltage){
		motor1_output_voltage = motor1_max_voltage;
		motor1_cum_error = motor1_cum_error_previous;
	}

	if (motor2_output_voltage > motor2_max_voltage){
		motor2_output_voltage = motor2_max_voltage;
		motor2_cum_error = motor2_cum_error_previous;
	}

	if (motor3_output_voltage > motor3_max_voltage){
		motor3_output_voltage = motor3_max_voltage;
		motor3_cum_error = motor3_cum_error_previous;
	}

	if (motor4_output_voltage > motor4_max_voltage){
		motor4_output_voltage = motor4_max_voltage;
		motor4_cum_error = motor4_cum_error_previous;
	}

	//Loop resets
	motor1_last_error = motor1_error;
	motor1_cum_error_previous = motor1_cum_error;

	motor2_last_error = motor2_error;
	motor2_cum_error_previous = motor2_cum_error;

	motor3_last_error = motor3_error;
	motor3_cum_error_previous = motor3_cum_error;

	motor4_last_error = motor4_error;
	motor4_cum_error_previous = motor4_cum_error;

	motor_previous_time = motor_current_time;

}

void MPU6050Setup(void)
{
	  MPU_ConfigTypeDef MpuConfig;
	  //Initialize the MPU6050
	  MPU6050_Init(&hi2c1);
	  //Configure accel and gyro parameters
	  MpuConfig.Accel_Full_Scale = AFS_SEL_4g;
	  MpuConfig.ClockSource = Internal_8MHz;
	  MpuConfig.CONFIG_DLPF = DLPF_184A_188G_Hz;
	  MpuConfig.Gyro_Full_Scale = FS_SEL_500;
	  MpuConfig.Sleep_Mode_Bit = 0;
	  MPU6050_Config(&MpuConfig);
}

/* USER CODE END 4 */

void StartDefaultTask(void const * argument)
{
  /* USER CODE BEGIN 5 */
  /* Infinite loop */
  for(;;)
  {
	  osDelay(50);
  }
  /* USER CODE END 5 */
}

void StartENC1Task(void const * argument)
{
  /* USER CODE BEGIN StartENC1Task */
  /* Infinite loop */
  for(;;)
  {
	//Start the timer in input capture mode
	HAL_TIM_IC_Start_IT(&htim5, TIM_CHANNEL_1);

	//get the first tick of the timer
	start_tick1 = HAL_GetTick();

	//Reset the timer
	__HAL_TIM_SetCounter(&htim5, 0);

	//Run the do while loop to get the elapsed period
	do
	{
		if(icflag2_1) break;
	}while (HAL_GetTick() - start_tick1 < 800);
	icflag1_1 = 0;
	icflag2_1 = 0;

	//Stop the timer
	HAL_TIM_IC_Stop_IT(&htim5, TIM_CHANNEL_1);

	//Calculate the elapsed period
	if (tick2_1 > tick1_1) {
		period1 = tick2_1 - tick1_1;
	}
	else {
		period1 = period1;
	}

	//Calculate the frequency and angular velocity
	if (period1 > 0){
		frequency1 = (float)10000/(period1);
		motor1_ang_vel = frequency1*(M_PI/10);
	}

	if (motor1_ang_vel > motor1_max_rps) {
		motor1_ang_vel = motor1_max_rps;
	}

	//Print the elapsed period
	//printf("Period 1: %d \n", period1);
	printf("Angular Velocity 1: %d \n", (int)motor1_ang_vel);

    osDelay(200);
  }
  /* USER CODE END StartENC1Task */
}

void StartENC2Task(void const * argument)
{
  /* USER CODE BEGIN StartENC2Task */
  /* Infinite loop */
  for(;;)
  {
	  //Start the timer in input capture mode
	  	HAL_TIM_IC_Start_IT(&htim4, TIM_CHANNEL_1);

	  	//get the first tick of the timer
	  	start_tick2 = HAL_GetTick();

	  	//Reset the timer
	  	__HAL_TIM_SetCounter(&htim4, 0);

	  	//Run the do while loop to get the elapsed period
	  	do
	  	{
	  		if(icflag2_2) break;
	  	}while (HAL_GetTick() - start_tick2 < 800);
	  	icflag1_2 = 0;
	  	icflag2_2 = 0;

	  	//Stop the timer
	  	HAL_TIM_IC_Stop_IT(&htim4, TIM_CHANNEL_1);

	  	//Calculate the elapsed period
	  	if (tick2_2 > tick1_2) {
	  		period2 = tick2_2 - tick1_2;
	  	}
	  	else {
	  		period2 = period2;
	  	}

	  	//Calculate the frequency and angular velocity
	  	if (period2 > 0){
	  		frequency2 = (float)10000/(period2);
	  		motor2_ang_vel = frequency2*(M_PI/10);
	  	}

	  	if (motor2_ang_vel > motor2_max_rps) {
			motor2_ang_vel = motor2_max_rps;
		}

	  	//Print the elapsed period
	  	//printf("Period 2: %d \n", period2);
	  	printf("Angular Velocity 2: %d \n", (int)motor2_ang_vel);

	    osDelay(200);
  }
  /* USER CODE END StartENC2Task */
}

void StartENC3Task(void const * argument)
{
  /* USER CODE BEGIN StartENC3Task */
  /* Infinite loop */
  for(;;)
  {
	  //Start the timer in input capture mode
		HAL_TIM_IC_Start_IT(&htim4, TIM_CHANNEL_2);

		//get the first tick of the timer
		start_tick3 = HAL_GetTick();

		//Reset the timer
		__HAL_TIM_SetCounter(&htim4, 0);

		//Run the do while loop to get the elapsed period
		do
		{
			if(icflag2_3) break;
		}while (HAL_GetTick() - start_tick3 < 800);
		icflag1_3 = 0;
		icflag2_3 = 0;

		//Stop the timer
		HAL_TIM_IC_Stop_IT(&htim4, TIM_CHANNEL_2);

		//Calculate the elapsed period
		if (tick2_3 > tick1_3) {
			period3 = tick2_3 - tick1_3;
		}
		else {
			period3 = period3;
		}

		//Calculate the frequency and angular velocity
		if (period3 > 0){
			frequency3 = (float)10000/(period3);
			motor3_ang_vel = frequency3*(M_PI/10);
		}

		if (motor3_ang_vel > motor3_max_rps) {
			motor3_ang_vel = motor3_max_rps;
		}

		//Print the elapsed period
		//printf("Period 3: %d \n", period3);
		printf("Angular Velocity 3: %d \n", (int)motor3_ang_vel);

		osDelay(200);
  }
  /* USER CODE END StartENC3Task */
}

void StartENC4Task(void const * argument)
{
  /* USER CODE BEGIN StartENC4Task */
  /* Infinite loop */
  for(;;)
  {
	  //Start the timer in input capture mode
	  	HAL_TIM_IC_Start_IT(&htim5, TIM_CHANNEL_2);

	  	//get the first tick of the timer
	  	start_tick4 = HAL_GetTick();

	  	//Reset the timer
	  	__HAL_TIM_SetCounter(&htim5, 0);

	  	//Run the do while loop to get the elapsed period
	  	do
	  	{
	  		if(icflag2_4) break;
	  	}while (HAL_GetTick() - start_tick4 < 800);
	  	icflag1_4 = 0;
	  	icflag2_4 = 0;

	  	//Stop the timer
	  	HAL_TIM_IC_Stop_IT(&htim5, TIM_CHANNEL_2);

	  	//Calculate the elapsed period
	  	if (tick2_4 > tick1_4) {
	  		period4 = tick2_4 - tick1_4;
	  	}
	  	else {
	  		period4 = period4;
	  	}

	  	//Calculate the frequency and angular velocity
	  	if (period4 > 0){
	  		frequency4 = (float)10000/(period4);
	  		motor4_ang_vel = frequency4*(M_PI/10);
	  	}

	  	if (motor4_ang_vel > motor4_max_rps) {
			motor4_ang_vel = motor4_max_rps;
		}

	  	//Print the elapsed period
	  	//printf("Period 4: %d \n", period4);
	  	printf("Angular Velocity 4: %d \n", (int)motor4_ang_vel);

	    osDelay(200);
  }
  /* USER CODE END StartENC4Task */
}

void StartIMUTask(void const * argument)
{
  /* USER CODE BEGIN StartIMUTask */
  /* Infinite loop */
  for(;;)
  {
	MPU6050_Get_Accel_Scale(&AccelScaled);
	MPU6050_Get_Gyro_Scale(&GyroScaled);

	printf("Accelerometer data: %.2f \n", AccelScaled.x);
    osDelay(200);
  }
  /* USER CODE END StartIMUTask */
}

 /**
  * @brief  Period elapsed callback in non blocking mode
  * @note   This function is called  when TIM2 interrupt took place, inside
  * HAL_TIM_IRQHandler(). It makes a direct call to HAL_IncTick() to increment
  * a global variable "uwTick" used as application time base.
  * @param  htim : TIM handle
  * @retval None
  */
void HAL_TIM_PeriodElapsedCallback(TIM_HandleTypeDef *htim)
{
  if (htim->Instance == TIM2) {
    HAL_IncTick();
  }
}

void Error_Handler(void)
{
  __disable_irq();
  while (1)
  {
  }
}

/************************ (C) COPYRIGHT STMicroelectronics *****END OF FILE****/
